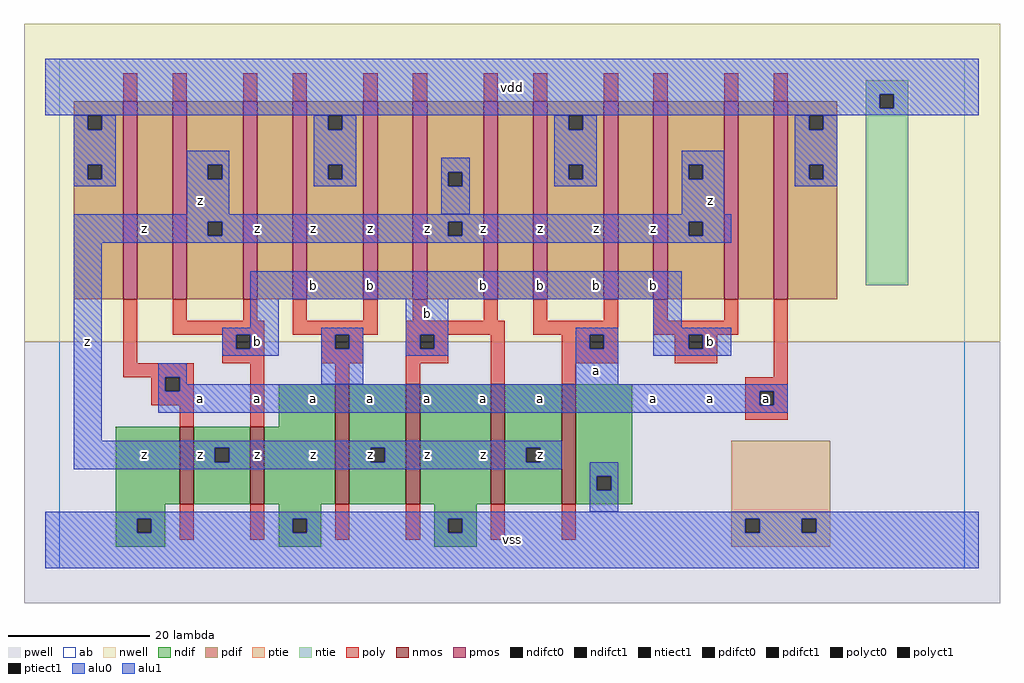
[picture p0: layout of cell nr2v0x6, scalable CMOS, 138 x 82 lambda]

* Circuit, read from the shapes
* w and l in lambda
.subckt nr2v0x6 a b vdd vss z
M1 z a vss vss nfet w=11 l=2
M2 vss b z vss nfet w=11 l=2
M3 z a vss vss nfet w=17 l=2 m=2
M4 vss b z vss nfet w=17 l=2 m=2
M5 n1 a vdd vdd pfet w=28 l=2
M6 z b n1 vdd pfet w=28 l=2
M7 n2 b z vdd pfet w=28 l=2
M8 vdd a n2 vdd pfet w=28 l=2
M9 n3 a vdd vdd pfet w=28 l=2
M10 z b n3 vdd pfet w=28 l=2
M11 n4 b z vdd pfet w=28 l=2
M12 vdd a n4 vdd pfet w=28 l=2
M13 n5 a vdd vdd pfet w=28 l=2
M14 z b n5 vdd pfet w=28 l=2
M15 n6 b z vdd pfet w=28 l=2
M16 vdd a n6 vdd pfet w=28 l=2
.ends

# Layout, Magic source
magic
tech scmos
<< ab >>
rect 0 0 128 72
<< nwell >>
rect -5 32 133 77
<< pwell >>
rect -5 -5 133 32
<< poly >>
rect 9 66 11 70
rect 16 66 18 70
rect 26 66 28 70
rect 33 66 35 70
rect 43 66 45 70
rect 50 66 52 70
rect 60 66 62 70
rect 67 66 69 70
rect 77 66 79 70
rect 84 66 86 70
rect 94 66 96 70
rect 101 66 103 70
rect 9 29 11 38
rect 16 35 18 38
rect 26 35 28 38
rect 33 35 35 38
rect 43 35 45 38
rect 50 35 52 38
rect 60 35 62 38
rect 67 35 69 38
rect 77 35 79 38
rect 16 33 29 35
rect 33 33 45 35
rect 49 33 63 35
rect 67 33 79 35
rect 84 35 86 38
rect 94 35 96 38
rect 84 33 96 35
rect 23 31 25 33
rect 27 31 29 33
rect 23 29 29 31
rect 37 31 39 33
rect 41 31 43 33
rect 37 29 43 31
rect 49 31 51 33
rect 53 31 55 33
rect 49 29 55 31
rect 9 27 19 29
rect 13 25 15 27
rect 17 25 19 27
rect 13 23 19 25
rect 17 20 19 23
rect 27 20 29 29
rect 39 26 41 29
rect 49 26 51 29
rect 61 26 63 33
rect 71 31 75 33
rect 77 31 79 33
rect 71 29 79 31
rect 87 31 89 33
rect 91 31 93 33
rect 87 29 93 31
rect 71 26 73 29
rect 101 27 103 38
rect 97 25 103 27
rect 97 23 99 25
rect 101 23 103 25
rect 97 21 103 23
rect 17 4 19 9
rect 27 4 29 9
rect 39 4 41 9
rect 49 4 51 9
rect 61 4 63 9
rect 71 4 73 9
<< ndif >>
rect 31 20 39 26
rect 8 9 17 20
rect 19 17 27 20
rect 19 15 22 17
rect 24 15 27 17
rect 19 9 27 15
rect 29 9 39 20
rect 41 17 49 26
rect 41 15 44 17
rect 46 15 49 17
rect 41 9 49 15
rect 51 9 61 26
rect 63 17 71 26
rect 63 15 66 17
rect 68 15 71 17
rect 63 9 71 15
rect 73 13 81 26
rect 73 11 76 13
rect 78 11 81 13
rect 73 9 81 11
rect 8 7 15 9
rect 8 5 11 7
rect 13 5 15 7
rect 8 3 15 5
rect 31 7 37 9
rect 31 5 33 7
rect 35 5 37 7
rect 31 3 37 5
rect 53 7 59 9
rect 53 5 55 7
rect 57 5 59 7
rect 53 3 59 5
<< pdif >>
rect 2 64 9 66
rect 2 62 4 64
rect 6 62 9 64
rect 2 57 9 62
rect 2 55 4 57
rect 6 55 9 57
rect 2 38 9 55
rect 11 38 16 66
rect 18 57 26 66
rect 18 55 21 57
rect 23 55 26 57
rect 18 49 26 55
rect 18 47 21 49
rect 23 47 26 49
rect 18 38 26 47
rect 28 38 33 66
rect 35 64 43 66
rect 35 62 38 64
rect 40 62 43 64
rect 35 57 43 62
rect 35 55 38 57
rect 40 55 43 57
rect 35 38 43 55
rect 45 38 50 66
rect 52 56 60 66
rect 52 54 55 56
rect 57 54 60 56
rect 52 49 60 54
rect 52 47 55 49
rect 57 47 60 49
rect 52 38 60 47
rect 62 38 67 66
rect 69 64 77 66
rect 69 62 72 64
rect 74 62 77 64
rect 69 57 77 62
rect 69 55 72 57
rect 74 55 77 57
rect 69 38 77 55
rect 79 38 84 66
rect 86 57 94 66
rect 86 55 89 57
rect 91 55 94 57
rect 86 49 94 55
rect 86 47 89 49
rect 91 47 94 49
rect 86 38 94 47
rect 96 38 101 66
rect 103 64 110 66
rect 103 62 106 64
rect 108 62 110 64
rect 103 57 110 62
rect 103 55 106 57
rect 108 55 110 57
rect 103 38 110 55
<< alu1 >>
rect -2 67 130 72
rect -2 65 116 67
rect 118 65 130 67
rect -2 64 130 65
rect 18 57 24 59
rect 18 55 21 57
rect 23 55 24 57
rect 18 50 24 55
rect 88 57 94 59
rect 88 55 89 57
rect 91 55 94 57
rect 88 50 94 55
rect 2 49 95 50
rect 2 47 21 49
rect 23 47 55 49
rect 57 47 89 49
rect 91 47 95 49
rect 2 46 95 47
rect 2 18 6 46
rect 27 38 88 42
rect 27 34 31 38
rect 23 33 31 34
rect 23 31 25 33
rect 27 31 31 33
rect 23 30 31 31
rect 14 27 18 29
rect 14 25 15 27
rect 17 26 18 27
rect 49 33 55 38
rect 84 34 88 38
rect 49 31 51 33
rect 53 31 55 33
rect 49 30 55 31
rect 73 33 79 34
rect 73 31 75 33
rect 77 31 79 33
rect 73 26 79 31
rect 84 33 95 34
rect 84 31 89 33
rect 91 31 95 33
rect 84 30 95 31
rect 17 25 103 26
rect 14 23 99 25
rect 101 23 103 25
rect 14 22 103 23
rect 2 17 71 18
rect 2 15 22 17
rect 24 15 44 17
rect 46 15 66 17
rect 68 15 71 17
rect 2 14 71 15
rect -2 7 130 8
rect -2 5 11 7
rect 13 5 33 7
rect 35 5 55 7
rect 57 5 97 7
rect 99 5 105 7
rect 107 5 130 7
rect -2 0 130 5
<< ptie >>
rect 95 7 109 18
rect 95 5 97 7
rect 99 5 105 7
rect 107 5 109 7
rect 95 3 109 5
<< ntie >>
rect 114 67 120 69
rect 114 65 116 67
rect 118 65 120 67
rect 114 40 120 65
<< nmos >>
rect 17 9 19 20
rect 27 9 29 20
rect 39 9 41 26
rect 49 9 51 26
rect 61 9 63 26
rect 71 9 73 26
<< pmos >>
rect 9 38 11 66
rect 16 38 18 66
rect 26 38 28 66
rect 33 38 35 66
rect 43 38 45 66
rect 50 38 52 66
rect 60 38 62 66
rect 67 38 69 66
rect 77 38 79 66
rect 84 38 86 66
rect 94 38 96 66
rect 101 38 103 66
<< polyct0 >>
rect 39 31 41 33
<< polyct1 >>
rect 25 31 27 33
rect 51 31 53 33
rect 15 25 17 27
rect 75 31 77 33
rect 89 31 91 33
rect 99 23 101 25
<< ndifct0 >>
rect 76 11 78 13
<< ndifct1 >>
rect 22 15 24 17
rect 44 15 46 17
rect 66 15 68 17
rect 11 5 13 7
rect 33 5 35 7
rect 55 5 57 7
<< ntiect1 >>
rect 116 65 118 67
<< ptiect1 >>
rect 97 5 99 7
rect 105 5 107 7
<< pdifct0 >>
rect 4 62 6 64
rect 4 55 6 57
rect 38 62 40 64
rect 38 55 40 57
rect 55 54 57 56
rect 72 62 74 64
rect 72 55 74 57
rect 106 62 108 64
rect 106 55 108 57
<< pdifct1 >>
rect 21 55 23 57
rect 21 47 23 49
rect 55 47 57 49
rect 89 55 91 57
rect 89 47 91 49
<< alu0 >>
rect 2 62 4 64
rect 6 62 8 64
rect 2 57 8 62
rect 36 62 38 64
rect 40 62 42 64
rect 2 55 4 57
rect 6 55 8 57
rect 2 54 8 55
rect 36 57 42 62
rect 70 62 72 64
rect 74 62 76 64
rect 36 55 38 57
rect 40 55 42 57
rect 36 54 42 55
rect 54 56 58 58
rect 54 54 55 56
rect 57 54 58 56
rect 70 57 76 62
rect 104 62 106 64
rect 108 62 110 64
rect 70 55 72 57
rect 74 55 76 57
rect 70 54 76 55
rect 54 50 58 54
rect 104 57 110 62
rect 104 55 106 57
rect 108 55 110 57
rect 104 54 110 55
rect 37 33 43 34
rect 37 31 39 33
rect 41 31 43 33
rect 37 26 43 31
rect 75 13 79 15
rect 75 11 76 13
rect 78 11 79 13
rect 75 8 79 11
<< labels >>
rlabel alu1 12 16 12 16 6 z
rlabel alu1 20 16 20 16 6 z
rlabel alu1 20 24 20 24 6 a
rlabel alu1 4 32 4 32 6 z
rlabel alu1 20 52 20 52 6 z
rlabel alu1 12 48 12 48 6 z
rlabel alu1 28 16 28 16 6 z
rlabel alu1 36 16 36 16 6 z
rlabel alu1 44 16 44 16 6 z
rlabel alu1 28 24 28 24 6 a
rlabel alu1 36 24 36 24 6 a
rlabel alu1 44 24 44 24 6 a
rlabel alu1 28 32 28 32 6 b
rlabel alu1 36 40 36 40 6 b
rlabel alu1 44 40 44 40 6 b
rlabel alu1 28 48 28 48 6 z
rlabel alu1 36 48 36 48 6 z
rlabel alu1 44 48 44 48 6 z
rlabel alu1 64 4 64 4 6 vss
rlabel alu1 60 16 60 16 6 z
rlabel alu1 68 16 68 16 6 z
rlabel alu1 52 16 52 16 6 z
rlabel alu1 52 24 52 24 6 a
rlabel alu1 60 24 60 24 6 a
rlabel alu1 68 24 68 24 6 a
rlabel alu1 52 36 52 36 6 b
rlabel alu1 60 40 60 40 6 b
rlabel alu1 68 40 68 40 6 b
rlabel alu1 52 48 52 48 6 z
rlabel alu1 60 48 60 48 6 z
rlabel alu1 68 48 68 48 6 z
rlabel alu1 64 68 64 68 6 vdd
rlabel polyct1 100 24 100 24 6 a
rlabel alu1 84 24 84 24 6 a
rlabel alu1 92 24 92 24 6 a
rlabel alu1 92 32 92 32 6 b
rlabel alu1 76 28 76 28 6 a
rlabel alu1 76 40 76 40 6 b
rlabel alu1 84 40 84 40 6 b
rlabel alu1 76 48 76 48 6 z
rlabel alu1 92 52 92 52 6 z
rlabel alu1 84 48 84 48 6 z
<< end >>
